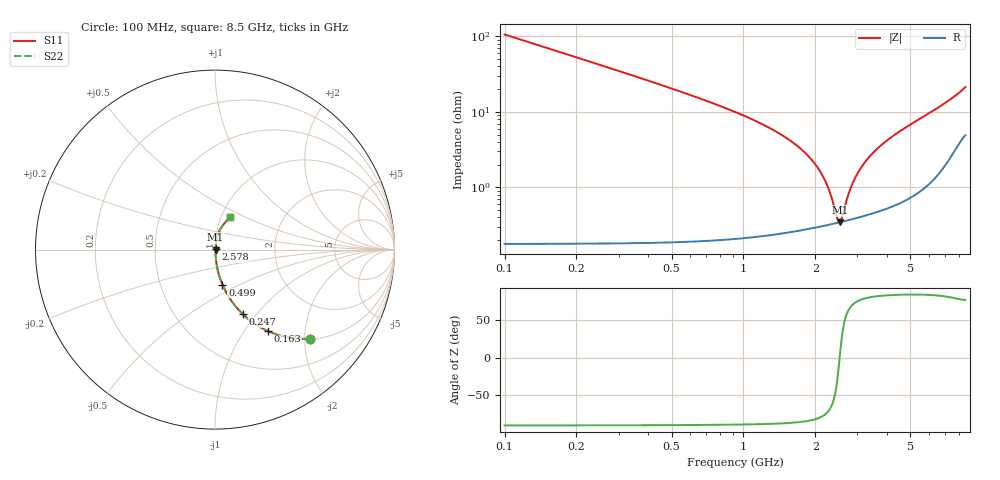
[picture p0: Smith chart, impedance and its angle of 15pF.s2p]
!Murata Part Number: GRM0335C1E150JA01
!These Parameters are Measured in Series Mode Connection
!  o--ll--o
!Port1  Port2
!  o------o
!Operation Temp=25[degC], DC Bias Voltage=0[V]
!Freq. Start=100[MHz] Stop=8.5[GHz], 401[Steps]
!Data Generated on Jan 10, 2018
# Hz S RI R 50
!Freq.(Hz) S11(Real) S11(Imag) S21(Real) S21(Imag) S12(Real) S12(Imag) S22(Real) S22(Imag)
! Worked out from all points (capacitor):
!   401 points, 100 MHz to 8.5 GHz, reference 50 ohm
!   read as one part in series: C = 15 pF near 142 MHz
!   lowest |Z| = 347 mohm at 2.536 GHz (marker M1)
!   series resonance near 2.529 GHz, so ESL is about 260 pH
!   S11 on the Smith chart (normalised r, x): 100 MHz: 1.00, -2.12; 163 MHz: 1.00, -1.30; 247 MHz: 1.00, -0.85; 499 MHz: 1.00, -0.41; 2.578 GHz: 1.01, +0.00; 8.5 GHz: 1.10, +0.42
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1e8  0.5288 -0.4983  0.4712 0.4983  0.4712 0.4983  0.5288 -0.4983
1.63e8  0.2964 -0.4553  0.7036 0.4553  0.7036 0.4553  0.2964 -0.4553
2.47e8  0.1543 -0.3592  0.8457 0.3592  0.8457 0.3592  0.1543 -0.3592
3.52e8  0.0818 -0.2709  0.9182 0.2709  0.9182 0.2709  0.0818 -0.2709
4.99e8  0.0417 -0.1955  0.9583 0.1955  0.9583 0.1955  0.0417 -0.1955
8.35e8  0.0146 -0.1114  0.9854 0.1114  0.9854 0.1114  0.0146 -0.1114
1.507e9  0.00454 -0.0452  0.9955 0.0452  0.9955 0.0452  0.00454 -0.0452
1.843e9  0.00351 -0.0269  0.9965 0.0269  0.9965 0.0269  0.00351 -0.0269
2.095e9  0.00327 -0.0159  0.9967 0.0159  0.9967 0.0159  0.00327 -0.0159
2.284e9  0.00327 -0.00857  0.9967 0.00857  0.9967 0.00857  0.00327 -0.00857
2.473e9  0.00339 -0.00188  0.9966 0.00188  0.9966 0.00188  0.00339 -0.00188
2.536e9  0.00345 0.000244  0.9966 -0.000244  0.9966 -0.000244  0.00345 0.000244
2.578e9  0.00349 0.00163  0.9965 -0.00163  0.9965 -0.00163  0.00349 0.00163
2.746e9  0.00371 0.00698  0.9963 -0.00698  0.9963 -0.00698  0.00371 0.00698
2.914e9  0.00399 0.0121  0.996 -0.0121  0.996 -0.0121  0.00399 0.0121
3.145e9  0.00445 0.0187  0.9955 -0.0187  0.9955 -0.0187  0.00445 0.0187
3.439e9  0.00517 0.0267  0.9948 -0.0267  0.9948 -0.0267  0.00517 0.0267
3.817e9  0.0063 0.0366  0.9937 -0.0366  0.9937 -0.0366  0.0063 0.0366
4.3e9  0.00812 0.0487  0.9919 -0.0487  0.9919 -0.0487  0.00812 0.0487
5.707e9  0.0169 0.0848  0.9831 -0.0848  0.9831 -0.0848  0.0169 0.0848
7.114e9  0.0374 0.1269  0.9626 -0.1269  0.9626 -0.1269  0.0374 0.1269
8.5e9  0.0827 0.182  0.9173 -0.182  0.9173 -0.182  0.0827 0.182
